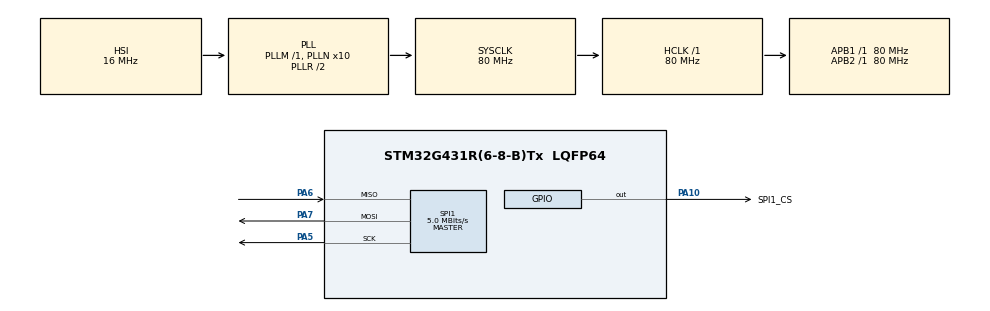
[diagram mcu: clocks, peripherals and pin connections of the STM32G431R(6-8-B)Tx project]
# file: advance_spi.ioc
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Mcu.Family=STM32G4
Mcu.Name=STM32G431R(6-8-B)Tx
Mcu.Package=LQFP64
NVIC.PriorityGroup=NVIC_PRIORITYGROUP_4
PA10.GPIO_Label=SPI1_CS
PA10.Signal=GPIO_Output
PA13.GPIO_Label=T_SWDIO
PA13.Mode=Serial_Wire
PA13.Signal=SYS_JTMS-SWDIO
PA14.GPIO_Label=T_SWCLK
PA14.Mode=Serial_Wire
PA14.Signal=SYS_JTCK-SWCLK
PA5.GPIO_Speed=GPIO_SPEED_FREQ_HIGH
PA5.Mode=Full_Duplex_Master
PA5.Signal=SPI1_SCK
PA6.GPIO_Speed=GPIO_SPEED_FREQ_HIGH
PA6.Mode=Full_Duplex_Master
PA6.Signal=SPI1_MISO
PA7.GPIO_Speed=GPIO_SPEED_FREQ_HIGH
PA7.Mode=Full_Duplex_Master
PA7.Signal=SPI1_MOSI
ProjectManager.HeapSize=0x200
ProjectManager.StackSize=0x400
ProjectManager.TargetToolchain=STM32CubeIDE
RCC.ADC12Freq_Value=80000000
RCC.AHBFreq_Value=80000000
RCC.APB1Freq_Value=80000000
RCC.APB1TimFreq_Value=80000000
RCC.APB2Freq_Value=80000000
RCC.APB2TimFreq_Value=80000000
RCC.CortexFreq_Value=80000000
RCC.EXTERNAL_CLOCK_VALUE=12288000
RCC.HCLKFreq_Value=80000000
RCC.HSE_VALUE=24000000
RCC.HSI48_VALUE=48000000
RCC.HSI_VALUE=16000000
RCC.PLLN=10
RCC.RTCClockSelection=RCC_RTCCLKSOURCE_LSE
RCC.SYSCLKFreq_VALUE=80000000
RCC.SYSCLKSource=RCC_SYSCLKSOURCE_PLLCLK
RCC.USBFreq_Value=80000000
RCC.VCOOutputFreq_Value=160000000
SPI1.BaudRatePrescaler=SPI_BAUDRATEPRESCALER_16
SPI1.CalculateBaudRate=5.0 MBits/s
SPI1.DataSize=SPI_DATASIZE_8BIT
SPI1.Direction=SPI_DIRECTION_2LINES
SPI1.Mode=SPI_MODE_MASTER
SPI1.VirtualType=VM_MASTER
VP_SYS_VS_DBSignals.Mode=DisableDeadBatterySignals
board=NUCLEO-G431RB

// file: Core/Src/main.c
/* USER CODE BEGIN Header */
/**
  ******************************************************************************
  * @file           : main.c
  * @brief          : Main program body
  ******************************************************************************
  * @attention
  *
  * Copyright (c) 2023 STMicroelectronics.
  * All rights reserved.
  *
  * This software is licensed under terms that can be found in the LICENSE file
  * in the root directory of this software component.
  * If no LICENSE file comes with this software, it is provided AS-IS.
  *
  ******************************************************************************
  */
/* USER CODE END Header */
#include "main.h"

/* USER CODE BEGIN PD */
#define EEPROM_WRITE_ENABLE (0x06) /* Write Enable */
#define EEPROM_WRITE_DISABLE (0x04) /* Write Disable */
#define EEPROM_STATUS_READ (0x05) /* Read Status Register */
#define EEPROM_STATUS_WRITE (0x01) /* Write Status Register */
#define EEPROM_READ (0x03) /* Read from Memory Array */
#define EEPROM_WRITE (0x02) /* Write to Memory Array */
#define EEPROM_STATUS_WIP_MASK (0x01) /* Write In Progress (WIP) flag */
#define EEPROM_PAGE_SIZE (16) /* Page size */
#define EEPROM_ACCESS_BEGIN() \
HAL_GPIO_WritePin(SPI1_CS_GPIO_Port, SPI1_CS_Pin, GPIO_PIN_RESET); {
#define EEPROM_ACCESS_END() \
} HAL_GPIO_WritePin(SPI1_CS_GPIO_Port, SPI1_CS_Pin, GPIO_PIN_SET);
/* USER CODE END PD */

SPI_HandleTypeDef hspi1;

/* USER CODE BEGIN PV */
#define COUNTOF(BUFFER) (sizeof(BUFFER) / sizeof(*(BUFFER)))
#define TXBUF_SIZE (COUNTOF(txbuf) - 1)
#define RXBUF_SIZE TXBUF_SIZE
uint8_t txbuf[] = "/* SPI HAL API EEPROM driver example: \
This firmware provides a basic example of how to use the SPI HAL API based and\
an associate SPI EEPROM driver to communicate with M95040-RMC6TG EEPROM */";
uint8_t rxbuf[RXBUF_SIZE];
/* USER CODE END PV */

void SystemClock_Config(void);
static void MX_GPIO_Init(void);
static void MX_SPI1_Init(void);
/* USER CODE BEGIN PFP */
static int eeprom_read_status(uint8_t *status);
static int eeprom_read(uint16_t address, uint8_t *dst, int size);
static int eeprom_write(uint16_t address, uint8_t *src, int size);
static int bufcmp(uint8_t* buf1, uint8_t *buf2, int size);
/* USER CODE END PFP */

/* USER CODE BEGIN 0 */
uint8_t status;
/* USER CODE END 0 */

int main(void)
{

  /* MCU Configuration--------------------------------------------------------*/

  /* Reset of all peripherals, Initializes the Flash interface and the Systick. */
  HAL_Init();

  /* Configure the system clock */
  SystemClock_Config();

  /* Initialize all configured peripherals */
  MX_GPIO_Init();
  MX_SPI1_Init();
  /* USER CODE BEGIN 2 */
  do {
  HAL_Delay(1);
  if (eeprom_read_status(&status))
  Error_Handler();
  } while (status & EEPROM_STATUS_WIP_MASK);
  if (eeprom_write(0x0000, txbuf, TXBUF_SIZE) != 0x00)
  Error_Handler();
  if (eeprom_read(0x0000, rxbuf, RXBUF_SIZE) != 0x00)
  Error_Handler();
  if (bufcmp(txbuf, rxbuf, RXBUF_SIZE))
  Error_Handler();
  //  Error_Handler(); 이곳에 breakpoint가 걸려있지 않으면 데이터 쓰기/읽기 정상으로 간주

  /* USER CODE END 2 */

  /* Infinite loop */
  while (1)
  {

  }
}

static int eeprom_read_status(uint8_t *status)
{
uint8_t inst = EEPROM_STATUS_READ;
EEPROM_ACCESS_BEGIN();
if (HAL_SPI_Transmit(&hspi1, &inst, 1, 100) != HAL_OK)
return -1;
if (HAL_SPI_Receive(&hspi1, status, 1, 100) != HAL_OK)
return -2;
EEPROM_ACCESS_END();
return 0;
}

static int eeprom_read(uint16_t address, uint8_t *dst, int size)
{
uint8_t inst[2];
inst[0] = (uint8_t)(((address >> 8) << 3) | (EEPROM_READ));
inst[1] = (uint8_t)((address) & (0x00FF));
EEPROM_ACCESS_BEGIN();
if (HAL_SPI_Transmit(&hspi1, inst, 2, 100) != HAL_OK)
return -1;
if (HAL_SPI_Receive(&hspi1, dst, size, 100) != HAL_OK)
return -2;
EEPROM_ACCESS_END();
return 0;
}

static int eeprom_write(uint16_t address, uint8_t *src, int size)
{
uint8_t inst[2], status;
int remain = size, wbytes = 0;
while (remain > 0) {
/* write enable first */
inst[0] = EEPROM_WRITE_ENABLE;
EEPROM_ACCESS_BEGIN();
if (HAL_SPI_Transmit(&hspi1, inst, 1, 100) != HAL_OK)
return -1;
EEPROM_ACCESS_END();
/* write datas */
wbytes = (remain > EEPROM_PAGE_SIZE) ? EEPROM_PAGE_SIZE : remain;
inst[0] = (uint8_t)(((address >> 8) << 3) | (EEPROM_WRITE));
inst[1] = (uint8_t)((address) & (0x00FF));
EEPROM_ACCESS_BEGIN();
if (HAL_SPI_Transmit(&hspi1, inst, 2, 100) != HAL_OK)
return -2;
if (HAL_SPI_Transmit(&hspi1, src, EEPROM_PAGE_SIZE, 1000) != HAL_OK)
return -3;
EEPROM_ACCESS_END();

do {
HAL_Delay(1);
if (eeprom_read_status(&status))
return -4;
} while (status & EEPROM_STATUS_WIP_MASK);
/* write disable */
EEPROM_ACCESS_BEGIN();
inst[0] = EEPROM_WRITE_DISABLE;
if (HAL_SPI_Transmit(&hspi1, inst, 1, 100) != HAL_OK)
return -5;
EEPROM_ACCESS_END();
src = (uint8_t *)((int)src + wbytes);
address += wbytes;
remain -= wbytes;
}
return 0;
}

static int bufcmp(uint8_t* buf1, uint8_t *buf2, int size)
{
while (size--)
if (*buf1++ != *buf2++)
return size;
return 0;
}

void SystemClock_Config(void)
{
  RCC_OscInitTypeDef RCC_OscInitStruct = {0};
  RCC_ClkInitTypeDef RCC_ClkInitStruct = {0};

  /** Configure the main internal regulator output voltage
  */
  HAL_PWREx_ControlVoltageScaling(PWR_REGULATOR_VOLTAGE_SCALE1);

  /** Initializes the RCC Oscillators according to the specified parameters
  * in the RCC_OscInitTypeDef structure.
  */
  RCC_OscInitStruct.OscillatorType = RCC_OSCILLATORTYPE_HSI;
  RCC_OscInitStruct.HSIState = RCC_HSI_ON;
  RCC_OscInitStruct.HSICalibrationValue = RCC_HSICALIBRATION_DEFAULT;
  RCC_OscInitStruct.PLL.PLLState = RCC_PLL_ON;
  RCC_OscInitStruct.PLL.PLLSource = RCC_PLLSOURCE_HSI;
  RCC_OscInitStruct.PLL.PLLM = RCC_PLLM_DIV1;
  RCC_OscInitStruct.PLL.PLLN = 10;
  RCC_OscInitStruct.PLL.PLLP = RCC_PLLP_DIV2;
  RCC_OscInitStruct.PLL.PLLQ = RCC_PLLQ_DIV2;
  RCC_OscInitStruct.PLL.PLLR = RCC_PLLR_DIV2;
  if (HAL_RCC_OscConfig(&RCC_OscInitStruct) != HAL_OK)
  {
    Error_Handler();
  }

  /** Initializes the CPU, AHB and APB buses clocks
  */
  RCC_ClkInitStruct.ClockType = RCC_CLOCKTYPE_HCLK|RCC_CLOCKTYPE_SYSCLK
                              |RCC_CLOCKTYPE_PCLK1|RCC_CLOCKTYPE_PCLK2;
  RCC_ClkInitStruct.SYSCLKSource = RCC_SYSCLKSOURCE_PLLCLK;
  RCC_ClkInitStruct.AHBCLKDivider = RCC_SYSCLK_DIV1;
  RCC_ClkInitStruct.APB1CLKDivider = RCC_HCLK_DIV1;
  RCC_ClkInitStruct.APB2CLKDivider = RCC_HCLK_DIV1;

  if (HAL_RCC_ClockConfig(&RCC_ClkInitStruct, FLASH_LATENCY_2) != HAL_OK)
  {
    Error_Handler();
  }
}

static void MX_SPI1_Init(void)
{

  /* SPI1 parameter configuration*/
  hspi1.Instance = SPI1;
  hspi1.Init.Mode = SPI_MODE_MASTER;
  hspi1.Init.Direction = SPI_DIRECTION_2LINES;
  hspi1.Init.DataSize = SPI_DATASIZE_8BIT;
  hspi1.Init.CLKPolarity = SPI_POLARITY_LOW;
  hspi1.Init.CLKPhase = SPI_PHASE_1EDGE;
  hspi1.Init.NSS = SPI_NSS_SOFT;
  hspi1.Init.BaudRatePrescaler = SPI_BAUDRATEPRESCALER_16;
  hspi1.Init.FirstBit = SPI_FIRSTBIT_MSB;
  hspi1.Init.TIMode = SPI_TIMODE_DISABLE;
  hspi1.Init.CRCCalculation = SPI_CRCCALCULATION_DISABLE;
  hspi1.Init.CRCPolynomial = 7;
  hspi1.Init.CRCLength = SPI_CRC_LENGTH_DATASIZE;
  hspi1.Init.NSSPMode = SPI_NSS_PULSE_ENABLE;
  if (HAL_SPI_Init(&hspi1) != HAL_OK)
  {
    Error_Handler();
  }

}

static void MX_GPIO_Init(void)
{
  GPIO_InitTypeDef GPIO_InitStruct = {0};

  /* GPIO Ports Clock Enable */
  __HAL_RCC_GPIOA_CLK_ENABLE();

  /*Configure GPIO pin Output Level */
  HAL_GPIO_WritePin(SPI1_CS_GPIO_Port, SPI1_CS_Pin, GPIO_PIN_RESET);

  /*Configure GPIO pin : SPI1_CS_Pin */
  GPIO_InitStruct.Pin = SPI1_CS_Pin;
  GPIO_InitStruct.Mode = GPIO_MODE_OUTPUT_PP;
  GPIO_InitStruct.Pull = GPIO_NOPULL;
  GPIO_InitStruct.Speed = GPIO_SPEED_FREQ_LOW;
  HAL_GPIO_Init(SPI1_CS_GPIO_Port, &GPIO_InitStruct);

}

void Error_Handler(void)
{
  __disable_irq();
  while (1)
  {
  }
}
